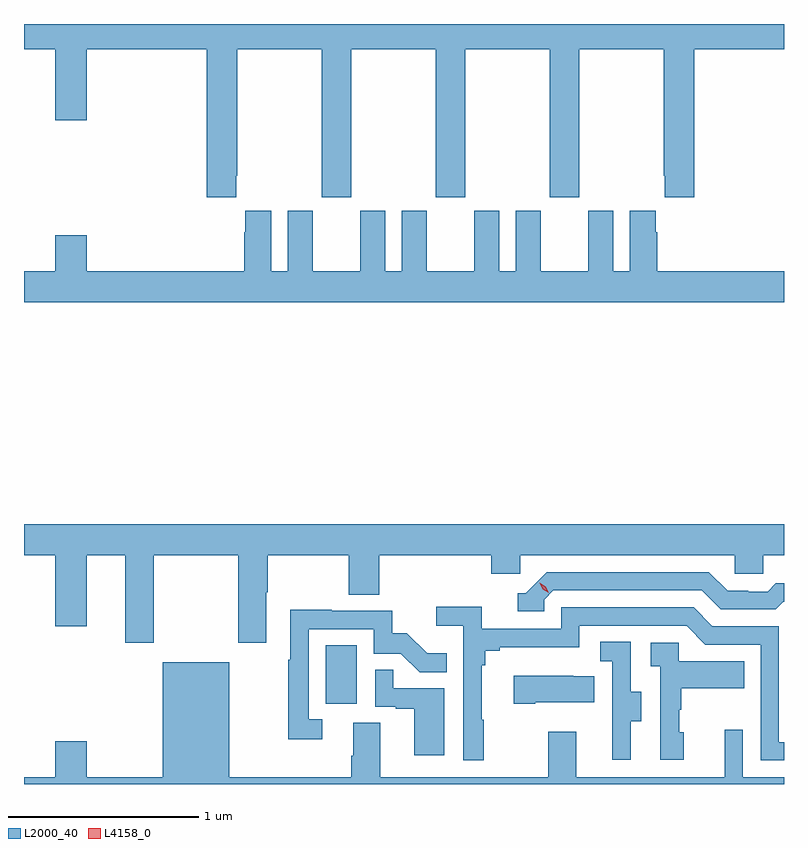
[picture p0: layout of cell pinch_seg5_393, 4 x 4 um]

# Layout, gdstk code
import gdstk
lib = gdstk.Library(unit=1e-6, precision=1e-09)
def R(c, l, rs):  # rectangles x0, y0, x1, y1
    for r in rs: c.add(gdstk.rectangle(r[:2], r[2:], *l))
def P(c, l, *ps):  # polygons
    for p in ps: c.add(gdstk.Polygon(p, *l))
L2000_40 = (2000, 40)
L4158_0 = (4158, 0)

pinch_seg5_393 = lib.new_cell('pinch_seg5_393')
R(pinch_seg5_393, L2000_40, [(969.626,867.966,969.79,868.273)])
P(pinch_seg5_393, L2000_40, [(969.157,870.745),(969.162,870.745),(969.162,871.412),(969.607,871.412),(969.607,870.633),(969.762,870.633),(969.762,871.412),(970.207,871.412),(970.207,870.633),(970.362,870.633),(970.362,871.412),(970.807,871.412),(970.807,870.633),(970.962,870.633),(970.962,871.412),(971.407,871.412),(971.407,870.745),(971.411,870.745),(971.411,870.633),(971.567,870.633),(971.567,871.412),(972.039,871.412),(972.039,871.544),(968.039,871.544),(968.039,871.412),(968.204,871.412),(968.204,871.038),(968.368,871.038),(968.368,871.412),(969.002,871.412),(969.002,870.633),(969.157,870.633)],
  [(972.039,870.244),(971.372,870.244),(971.372,870.449),(971.365,870.449),(971.365,870.562),(971.228,870.562),(971.228,870.244),(971.14,870.244),(971.14,870.562),(971.009,870.562),(971.009,870.244),(970.759,870.244),(970.759,870.562),(970.628,870.562),(970.628,870.244),(970.54,870.244),(970.54,870.562),(970.409,870.562),(970.409,870.244),(970.159,870.244),(970.159,870.562),(970.028,870.562),(970.028,870.244),(969.94,870.244),(969.94,870.562),(969.809,870.562),(969.809,870.244),(969.559,870.244),(969.559,870.562),(969.428,870.562),(969.428,870.244),(969.34,870.244),(969.34,870.562),(969.203,870.562),(969.203,870.449),(969.197,870.449),(969.197,870.244),(968.368,870.244),(968.368,870.433),(968.204,870.433),(968.204,870.244),(968.039,870.244),(968.039,870.08),(972.039,870.08)],
  [(968.721,868.748),(969.166,868.748),(969.166,868.287),(969.313,868.287),(969.313,868.552),(969.321,868.552),(969.321,868.748),(969.748,868.748),(969.748,868.54),(969.908,868.54),(969.908,868.748),(970.499,868.748),(970.499,868.65),(970.65,868.65),(970.65,868.748),(971.781,868.748),(971.781,868.65),(971.931,868.65),(971.931,868.748),(972.039,868.748),(972.039,868.912),(968.039,868.912),(968.039,868.748),(968.204,868.748),(968.204,868.374),(968.368,868.374),(968.368,868.748),(968.573,868.748),(968.573,868.287),(968.721,868.287)],
  [(970.776,868.515),(970.824,868.563),(971.607,868.563),(971.706,868.464),(971.995,868.464),(972.034,868.503),(972.039,868.503),(972.039,868.6),(971.995,868.6),(971.953,868.557),(971.85,868.557),(971.85,868.56),(971.743,868.56),(971.644,868.659),(970.791,868.659),(970.68,868.548),(970.637,868.548),(970.637,868.452),(970.776,868.452)],
  [(970.459,867.881),(970.447,867.881),(970.447,868.169),(970.466,868.169),(970.466,868.246),(970.543,868.246),(970.543,868.265),(970.962,868.265),(970.962,868.377),(971.526,868.377),(971.625,868.278),(971.916,868.278),(971.916,867.669),(972.039,867.669),(972.039,867.765),(972.012,867.765),(972.012,868.374),(971.662,868.374),(971.563,868.473),(970.866,868.473),(970.866,868.362),(970.448,868.362),(970.448,868.478),(970.209,868.478),(970.209,868.376),(970.35,868.376),(970.35,867.669),(970.459,867.669)],
  [(969.61,867.885),(969.537,867.885),(969.537,868.359),(969.879,868.359),(969.879,868.23),(970.023,868.23),(970.121,868.132),(970.265,868.132),(970.265,868.231),(970.161,868.231),(970.054,868.338),(969.978,868.338),(969.978,868.455),(969.659,868.455),(969.659,868.46),(969.441,868.46),(969.441,868.199),(969.429,868.199),(969.429,867.78),(969.61,867.78)],
  [(971.233,867.874),(971.287,867.874),(971.287,868.029),(971.232,868.029),(971.232,868.292),(971.073,868.292),(971.073,868.189),(971.136,868.189),(971.136,867.885),(971.135,867.885),(971.135,867.672),(971.233,867.672)],
  [(971.512,867.816),(971.487,867.816),(971.487,867.935),(971.497,867.935),(971.497,868.049),(971.831,868.049),(971.831,868.189),(971.484,868.189),(971.484,868.287),(971.337,868.287),(971.337,868.163),(971.388,868.163),(971.388,867.672),(971.512,867.672)],
  [(972.039,867.58),(971.823,867.58),(971.823,867.829),(971.726,867.829),(971.726,867.58),(970.945,867.58),(970.945,867.82),(970.798,867.82),(970.798,867.58),(969.913,867.58),(969.913,867.866),(969.773,867.866),(969.773,867.692),(969.761,867.692),(969.761,867.58),(969.118,867.58),(969.118,868.186),(968.768,868.186),(968.768,867.58),(968.368,867.58),(968.368,867.769),(968.204,867.769),(968.204,867.58),(968.039,867.58),(968.039,867.544),(972.039,867.544)],
  [(970.252,868.047),(969.983,868.047),(969.983,868.145),(969.888,868.145),(969.888,867.951),(969.995,867.951),(969.995,867.939),(970.094,867.939),(970.094,867.696),(970.252,867.696)],
  [(970.729,867.974),(971.039,867.974),(971.039,868.111),(970.931,868.111),(970.931,868.114),(970.617,868.114),(970.617,867.967),(970.729,867.967)])
P(pinch_seg5_393, L4158_0, [(970.801,868.55),(970.77,868.569),(970.753,868.601),(970.753,868.602),(970.753,868.602),(970.784,868.582),(970.801,868.55),(970.801,868.55)])

lib.write_gds('pinch_seg5_393.gds')
